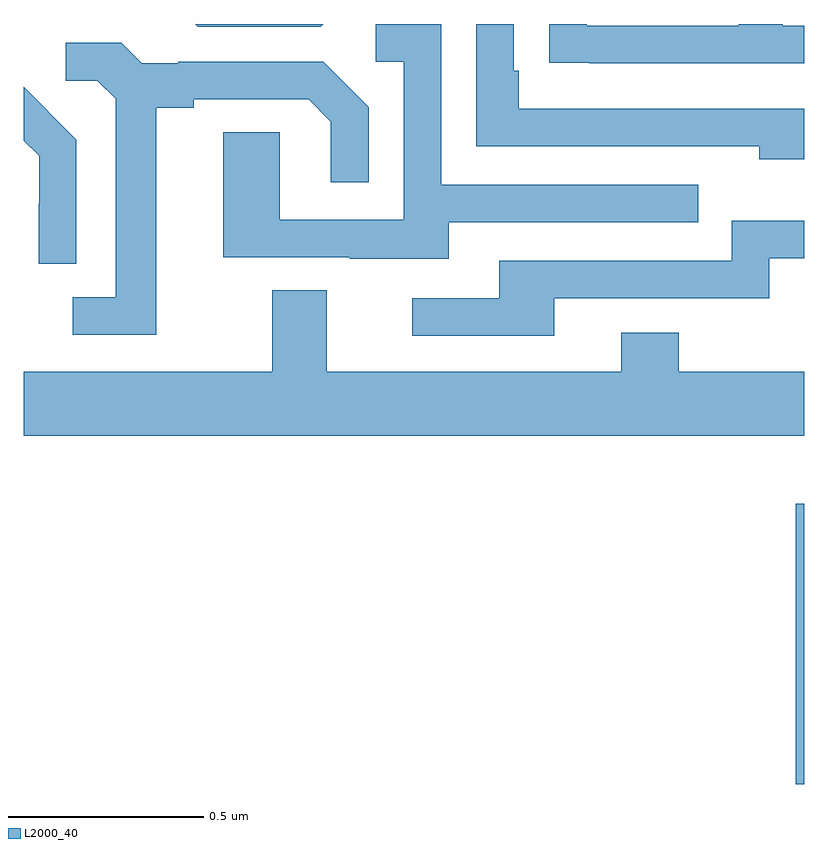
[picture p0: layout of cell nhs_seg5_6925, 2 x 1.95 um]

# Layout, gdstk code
import gdstk
lib = gdstk.Library(unit=1e-6, precision=1e-09)
def R(c, l, rs):  # rectangles x0, y0, x1, y1
    for r in rs: c.add(gdstk.rectangle(r[:2], r[2:], *l))
def P(c, l, *ps):  # polygons
    for p in ps: c.add(gdstk.Polygon(p, *l))
L2000_40 = (2000, 40)

nhs_seg5_6925 = lib.new_cell('nhs_seg5_6925')
R(nhs_seg5_6925, L2000_40, [(203.978,871.851,204,872.569)])
P(nhs_seg5_6925, L2000_40, [(203.089,873.291),(203.729,873.291),(203.729,873.387),(203.07,873.387),(203.07,873.799),(202.902,873.799),(202.902,873.702),(202.974,873.702),(202.974,873.297),(202.656,873.297),(202.656,873.521),(202.511,873.521),(202.511,873.201),(202.835,873.201),(202.835,873.197),(203.089,873.197)],
  [(202.768,873.799),(202.439,873.799),(202.446,873.792),(202.761,873.792)],
  [(204,873.582),(203.269,873.582),(203.269,873.679),(203.256,873.679),(203.256,873.799),(203.16,873.799),(203.16,873.486),(203.885,873.486),(203.885,873.452),(204,873.452)],
  [(204,873.795),(203.945,873.795),(203.945,873.799),(203.833,873.799),(203.833,873.795),(203.443,873.795),(203.443,873.799),(203.347,873.799),(203.347,873.7),(203.449,873.7),(203.449,873.699),(204,873.699)],
  [(202.339,873.584),(202.435,873.584),(202.435,873.606),(202.73,873.606),(202.787,873.549),(202.787,873.393),(202.884,873.393),(202.884,873.586),(202.768,873.702),(202.396,873.702),(202.396,873.699),(202.302,873.699),(202.25,873.751),(202.107,873.751),(202.107,873.654),(202.188,873.654),(202.235,873.607),(202.235,873.099),(202.125,873.099),(202.125,873.003),(202.339,873.003)],
  [(202.134,873.502),(202.061,873.575),(202.062,873.576),(202,873.638),(202,873.5),(202.04,873.461),(202.04,873.338),(202.038,873.338),(202.038,873.184),(202.134,873.184)],
  [(203.359,873.096),(203.91,873.096),(203.91,873.198),(204,873.198),(204,873.295),(203.814,873.295),(203.814,873.192),(203.219,873.192),(203.219,873.096),(202.995,873.096),(202.995,873),(203.359,873)],
  [(204,872.908),(203.679,872.908),(203.679,873.007),(203.531,873.007),(203.531,872.908),(202.777,872.908),(202.777,873.116),(202.637,873.116),(202.637,872.908),(202,872.908),(202,872.744),(204,872.744)])

lib.write_gds('nhs_seg5_6925.gds')
